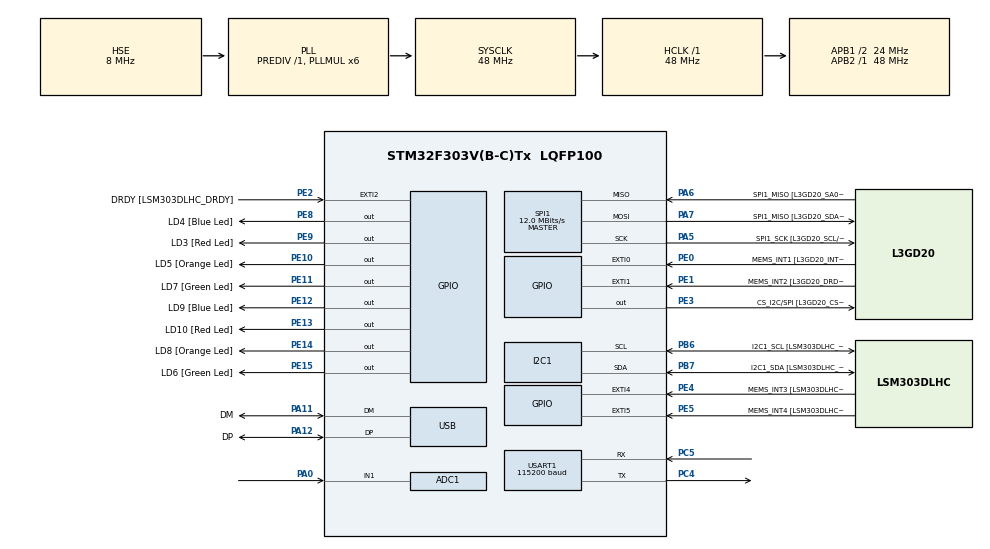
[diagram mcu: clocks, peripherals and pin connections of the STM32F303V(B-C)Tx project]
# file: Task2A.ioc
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ADC1.Channel-0\#ChannelRegularConversion=ADC_CHANNEL_1
ADC1.ContinuousConvMode=ENABLE
ADC1.NbrOfConversionFlag=1
ADC1.Offset-0\#ChannelRegularConversion=0
ADC1.OffsetNumber-0\#ChannelRegularConversion=ADC_OFFSET_NONE
ADC1.Rank-0\#ChannelRegularConversion=1
ADC1.SamplingTime-0\#ChannelRegularConversion=ADC_SAMPLETIME_1CYCLE_5
ADC1.SamplingTimeOPAMP-0\#ChannelRegularConversion=ADC_SAMPLETIME_19CYCLES_5
ADC1.master=1
I2C1.Timing=0x00201D2B
I2C1.Timing-I2C=0x2000090E
Mcu.Family=STM32F3
Mcu.Name=STM32F303V(B-C)Tx
Mcu.Package=LQFP100
NVIC.PriorityGroup=NVIC_PRIORITYGROUP_0
PA0.Mode=IN1-Single-Ended
PA0.Signal=ADC1_IN1
PA11.GPIO_Label=DM
PA11.Mode=Device
PA11.Signal=USB_DM
PA12.GPIO_Label=DP
PA12.Mode=Device
PA12.Signal=USB_DP
PA13.GPIO_Label=SWDIO
PA13.Mode=Serial_Wire
PA13.Signal=SYS_JTMS-SWDIO
PA14.GPIO_Label=SWCLK
PA14.Mode=Serial_Wire
PA14.Signal=SYS_JTCK-SWCLK
PA5.GPIO_Label=SPI1_SCK [L3GD20_SCL/SPC]
PA5.Mode=Full_Duplex_Master
PA5.Signal=SPI1_SCK
PA6.GPIO_Label=SPI1_MISO [L3GD20_SA0/SDO]
PA6.Mode=Full_Duplex_Master
PA6.Signal=SPI1_MISO
PA7.GPIO_Label=SPI1_MISO [L3GD20_SDA/SDI/SDO]
PA7.Mode=Full_Duplex_Master
PA7.Signal=SPI1_MOSI
PB3.GPIO_Label=SWO
PB3.Signal=SYS_JTDO-TRACESWO
PB6.GPIO_Label=I2C1_SCL [LSM303DLHC_SCL]
PB6.GPIO_Pu=GPIO_PULLUP
PB6.Mode=I2C
PB6.Signal=I2C1_SCL
PB7.GPIO_Label=I2C1_SDA [LSM303DLHC_SDA]
PB7.GPIO_Pu=GPIO_PULLUP
PB7.Mode=I2C
PB7.Signal=I2C1_SDA
PC14-OSC32_IN.GPIO_Label=OSC32_IN
PC14-OSC32_IN.Signal=RCC_OSC32_IN
PC15-OSC32_OUT.GPIO_Label=OSC32_OUT
PC15-OSC32_OUT.Signal=RCC_OSC32_OUT
PC4.Mode=Asynchronous
PC4.Signal=USART1_TX
PC5.Mode=Asynchronous
PC5.Signal=USART1_RX
PE0.GPIO_Label=MEMS_INT1 [L3GD20_INT1]
PE0.GPIO_ModeDefaultEXTI=GPIO_MODE_EVT_RISING
PE0.Signal=GPXTI0
PE1.GPIO_Label=MEMS_INT2 [L3GD20_DRDY/INT2]
PE1.GPIO_ModeDefaultEXTI=GPIO_MODE_EVT_RISING
PE1.Signal=GPXTI1
PE10.GPIO_Label=LD5 [Orange Led]
PE10.Signal=GPIO_Output
PE11.GPIO_Label=LD7 [Green Led]
PE11.Signal=GPIO_Output
PE12.GPIO_Label=LD9 [Blue Led]
PE12.Signal=GPIO_Output
PE13.GPIO_Label=LD10 [Red Led]
PE13.Signal=GPIO_Output
PE14.GPIO_Label=LD8 [Orange Led]
PE14.Signal=GPIO_Output
PE15.GPIO_Label=LD6 [Green Led]
PE15.Signal=GPIO_Output
PE2.GPIO_Label=DRDY [LSM303DLHC_DRDY]
PE2.GPIO_ModeDefaultEXTI=GPIO_MODE_EVT_RISING
PE2.Signal=GPXTI2
PE3.GPIO_Label=CS_I2C/SPI [L3GD20_CS_I2C/SPI]
PE3.Signal=GPIO_Output
PE4.GPIO_Label=MEMS_INT3 [LSM303DLHC_INT1]
PE4.GPIO_ModeDefaultEXTI=GPIO_MODE_EVT_RISING
PE4.Signal=GPXTI4
PE5.GPIO_Label=MEMS_INT4 [LSM303DLHC_INT2]
PE5.GPIO_ModeDefaultEXTI=GPIO_MODE_EVT_RISING
PE5.Signal=GPXTI5
PE8.GPIO_Label=LD4 [Blue Led]
PE8.Signal=GPIO_Output
PE9.GPIO_Label=LD3 [Red Led]
PE9.Signal=GPIO_Output
PF0-OSC_IN.GPIO_Label=OSC_IN
PF0-OSC_IN.Mode=HSE-External-Clock-Source
PF0-OSC_IN.Signal=RCC_OSC_IN
PF1-OSC_OUT.GPIO_Label=OSC_OUT
PF1-OSC_OUT.Signal=RCC_OSC_OUT
ProjectManager.HeapSize=0x200
ProjectManager.StackSize=0x400
ProjectManager.TargetToolchain=CMake
RCC.AHBFreq_Value=48000000
RCC.APB1CLKDivider=RCC_HCLK_DIV2
RCC.APB1Freq_Value=24000000
RCC.APB1TimFreq_Value=48000000
RCC.APB2Freq_Value=48000000
RCC.APB2TimFreq_Value=48000000
RCC.CortexFreq_Value=48000000
RCC.HCLKFreq_Value=48000000
RCC.HSE_VALUE=8000000
RCC.HSI_VALUE=8000000
RCC.LSE_VALUE=32768
RCC.PLLMUL=RCC_PLL_MUL6
RCC.SYSCLKFreq_VALUE=48000000
RCC.SYSCLKSourceVirtual=RCC_SYSCLKSOURCE_PLLCLK
RCC.USBFreq_Value=48000000
SPI1.BaudRatePrescaler=SPI_BAUDRATEPRESCALER_4
SPI1.BaudRatePrescaler-Full_Duplex_Master=SPI_BAUDRATEPRESCALER_2
SPI1.CalculateBaudRate=12.0 MBits/s
SPI1.CalculateBaudRate-Full_Duplex_Master=24.0 MBits/s
SPI1.Direction=SPI_DIRECTION_2LINES
SPI1.Mode=SPI_MODE_MASTER
SPI1.Mode-Full_Duplex_Master=SPI_MODE_MASTER
SPI1.VirtualType=VM_MASTER
STMicroelectronics.X-CUBE-ALGOBUILD.1.4.0.LibraryCcDSPOoLibraryJjDSPOoLibrary=true
USART1.BaudRate=115200
USART1.VirtualMode-Asynchronous=VM_ASYNC
VP_STMicroelectronics.X-CUBE-ALGOBUILD_VS_DSPOoLibraryJjLibrary_1.4.0_1.4.0.Mode=DSPOoLibraryJjLibrary
board=STM32F3DISCOVERY

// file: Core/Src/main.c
/* USER CODE BEGIN Header */
/**
  ******************************************************************************
  * @file           : main.c
  * @brief          : Main program body
  ******************************************************************************
  * @attention
  *
  * Copyright (c) 2026 STMicroelectronics.
  * All rights reserved.
  *
  * This software is licensed under terms that can be found in the LICENSE file
  * in the root directory of this software component.
  * If no LICENSE file comes with this software, it is provided AS-IS.
  *
  ******************************************************************************
  */
/* USER CODE END Header */
#include "main.h"

/* USER CODE BEGIN Includes */
#include "arm_math.h"
#include "stm32f3xx_hal.h"
#include <stdio.h>
#include <string.h>
/* USER CODE END Includes */

ADC_HandleTypeDef hadc1;

I2C_HandleTypeDef hi2c1;

SPI_HandleTypeDef hspi1;

UART_HandleTypeDef huart1;

PCD_HandleTypeDef hpcd_USB_FS;

void SystemClock_Config(void);
static void MX_GPIO_Init(void);
static void MX_ADC1_Init(void);
static void MX_I2C1_Init(void);
static void MX_SPI1_Init(void);
static void MX_USART1_UART_Init(void);
static void MX_USB_PCD_Init(void);

/* USER CODE BEGIN 0 */
volatile uint8_t adc_conversion_complete = 0;
volatile uint8_t uart_transmit_complete = 1;

float32_t inputBuffer[10] = {0};
float32_t output = 0.0f;
uint8_t bufferIndex = 0;

void apply_moving_average(float32_t new_sample)
{
  inputBuffer[bufferIndex] = new_sample;

  bufferIndex++;
  if (bufferIndex >= 10)
  {
    bufferIndex = 0;
  }

  arm_mean_f32(inputBuffer, 10, &output);
}
/* USER CODE END 0 */

int main(void)
{

  /* MCU Configuration--------------------------------------------------------*/

  /* Reset of all peripherals, Initializes the Flash interface and the Systick. */
  HAL_Init();

  /* Configure the system clock */
  SystemClock_Config();

  /* Initialize all configured peripherals */
  MX_GPIO_Init();
  MX_ADC1_Init();
  MX_I2C1_Init();
  MX_SPI1_Init();
  MX_USART1_UART_Init();
  MX_USB_PCD_Init();
  /* USER CODE BEGIN 2 */

  HAL_ADCEx_Calibration_Start(&hadc1, ADC_SINGLE_ENDED);
  HAL_ADC_Start_IT(&hadc1);

  /* USER CODE END 2 */

  /* Infinite loop */
  while (1)
  {

    /* USER CODE BEGIN 3 */

    if (adc_conversion_complete && uart_transmit_complete)
    {
      adc_conversion_complete = 0;
      uart_transmit_complete = 0;

      uint32_t adc_value = HAL_ADC_GetValue(&hadc1);

      float32_t adc_float = (float32_t)adc_value;
      apply_moving_average(adc_float);

      static char buffer[64];
      sprintf(buffer, "%.2f,%.2f\r\n", adc_float, output);
      HAL_UART_Transmit_IT(&huart1, (uint8_t*)buffer, strlen(buffer));
    }
  }
  /* USER CODE END 3 */
}

void SystemClock_Config(void)
{
  RCC_OscInitTypeDef RCC_OscInitStruct = {0};
  RCC_ClkInitTypeDef RCC_ClkInitStruct = {0};
  RCC_PeriphCLKInitTypeDef PeriphClkInit = {0};

  /** Initializes the RCC Oscillators according to the specified parameters
  * in the RCC_OscInitTypeDef structure.
  */
  RCC_OscInitStruct.OscillatorType = RCC_OSCILLATORTYPE_HSI|RCC_OSCILLATORTYPE_HSE;
  RCC_OscInitStruct.HSEState = RCC_HSE_BYPASS;
  RCC_OscInitStruct.HSEPredivValue = RCC_HSE_PREDIV_DIV1;
  RCC_OscInitStruct.HSIState = RCC_HSI_ON;
  RCC_OscInitStruct.HSICalibrationValue = RCC_HSICALIBRATION_DEFAULT;
  RCC_OscInitStruct.PLL.PLLState = RCC_PLL_ON;
  RCC_OscInitStruct.PLL.PLLSource = RCC_PLLSOURCE_HSE;
  RCC_OscInitStruct.PLL.PLLMUL = RCC_PLL_MUL6;
  if (HAL_RCC_OscConfig(&RCC_OscInitStruct) != HAL_OK)
  {
    Error_Handler();
  }

  /** Initializes the CPU, AHB and APB buses clocks
  */
  RCC_ClkInitStruct.ClockType = RCC_CLOCKTYPE_HCLK|RCC_CLOCKTYPE_SYSCLK
                              |RCC_CLOCKTYPE_PCLK1|RCC_CLOCKTYPE_PCLK2;
  RCC_ClkInitStruct.SYSCLKSource = RCC_SYSCLKSOURCE_PLLCLK;
  RCC_ClkInitStruct.AHBCLKDivider = RCC_SYSCLK_DIV1;
  RCC_ClkInitStruct.APB1CLKDivider = RCC_HCLK_DIV2;
  RCC_ClkInitStruct.APB2CLKDivider = RCC_HCLK_DIV1;

  if (HAL_RCC_ClockConfig(&RCC_ClkInitStruct, FLASH_LATENCY_1) != HAL_OK)
  {
    Error_Handler();
  }
  PeriphClkInit.PeriphClockSelection = RCC_PERIPHCLK_USB|RCC_PERIPHCLK_USART1
                              |RCC_PERIPHCLK_I2C1|RCC_PERIPHCLK_ADC12;
  PeriphClkInit.Usart1ClockSelection = RCC_USART1CLKSOURCE_PCLK2;
  PeriphClkInit.Adc12ClockSelection = RCC_ADC12PLLCLK_DIV1;
  PeriphClkInit.I2c1ClockSelection = RCC_I2C1CLKSOURCE_HSI;
  PeriphClkInit.USBClockSelection = RCC_USBCLKSOURCE_PLL;
  if (HAL_RCCEx_PeriphCLKConfig(&PeriphClkInit) != HAL_OK)
  {
    Error_Handler();
  }
}

static void MX_ADC1_Init(void)
{

  ADC_MultiModeTypeDef multimode = {0};
  ADC_ChannelConfTypeDef sConfig = {0};

  /** Common config
  */
  hadc1.Instance = ADC1;
  hadc1.Init.ClockPrescaler = ADC_CLOCK_ASYNC_DIV1;
  hadc1.Init.Resolution = ADC_RESOLUTION_12B;
  hadc1.Init.ScanConvMode = ADC_SCAN_DISABLE;
  hadc1.Init.ContinuousConvMode = ENABLE;
  hadc1.Init.DiscontinuousConvMode = DISABLE;
  hadc1.Init.ExternalTrigConvEdge = ADC_EXTERNALTRIGCONVEDGE_NONE;
  hadc1.Init.ExternalTrigConv = ADC_SOFTWARE_START;
  hadc1.Init.DataAlign = ADC_DATAALIGN_RIGHT;
  hadc1.Init.NbrOfConversion = 1;
  hadc1.Init.DMAContinuousRequests = DISABLE;
  hadc1.Init.EOCSelection = ADC_EOC_SINGLE_CONV;
  hadc1.Init.LowPowerAutoWait = DISABLE;
  hadc1.Init.Overrun = ADC_OVR_DATA_OVERWRITTEN;
  if (HAL_ADC_Init(&hadc1) != HAL_OK)
  {
    Error_Handler();
  }

  /** Configure the ADC multi-mode
  */
  multimode.Mode = ADC_MODE_INDEPENDENT;
  if (HAL_ADCEx_MultiModeConfigChannel(&hadc1, &multimode) != HAL_OK)
  {
    Error_Handler();
  }

  /** Configure Regular Channel
  */
  sConfig.Channel = ADC_CHANNEL_1;
  sConfig.Rank = ADC_REGULAR_RANK_1;
  sConfig.SingleDiff = ADC_SINGLE_ENDED;
  sConfig.SamplingTime = ADC_SAMPLETIME_1CYCLE_5;
  sConfig.OffsetNumber = ADC_OFFSET_NONE;
  sConfig.Offset = 0;
  if (HAL_ADC_ConfigChannel(&hadc1, &sConfig) != HAL_OK)
  {
    Error_Handler();
  }

}

static void MX_I2C1_Init(void)
{

  hi2c1.Instance = I2C1;
  hi2c1.Init.Timing = 0x00201D2B;
  hi2c1.Init.OwnAddress1 = 0;
  hi2c1.Init.AddressingMode = I2C_ADDRESSINGMODE_7BIT;
  hi2c1.Init.DualAddressMode = I2C_DUALADDRESS_DISABLE;
  hi2c1.Init.OwnAddress2 = 0;
  hi2c1.Init.OwnAddress2Masks = I2C_OA2_NOMASK;
  hi2c1.Init.GeneralCallMode = I2C_GENERALCALL_DISABLE;
  hi2c1.Init.NoStretchMode = I2C_NOSTRETCH_DISABLE;
  if (HAL_I2C_Init(&hi2c1) != HAL_OK)
  {
    Error_Handler();
  }

  /** Configure Analogue filter
  */
  if (HAL_I2CEx_ConfigAnalogFilter(&hi2c1, I2C_ANALOGFILTER_ENABLE) != HAL_OK)
  {
    Error_Handler();
  }

  /** Configure Digital filter
  */
  if (HAL_I2CEx_ConfigDigitalFilter(&hi2c1, 0) != HAL_OK)
  {
    Error_Handler();
  }

}

static void MX_SPI1_Init(void)
{

  /* SPI1 parameter configuration*/
  hspi1.Instance = SPI1;
  hspi1.Init.Mode = SPI_MODE_MASTER;
  hspi1.Init.Direction = SPI_DIRECTION_2LINES;
  hspi1.Init.DataSize = SPI_DATASIZE_4BIT;
  hspi1.Init.CLKPolarity = SPI_POLARITY_LOW;
  hspi1.Init.CLKPhase = SPI_PHASE_1EDGE;
  hspi1.Init.NSS = SPI_NSS_SOFT;
  hspi1.Init.BaudRatePrescaler = SPI_BAUDRATEPRESCALER_4;
  hspi1.Init.FirstBit = SPI_FIRSTBIT_MSB;
  hspi1.Init.TIMode = SPI_TIMODE_DISABLE;
  hspi1.Init.CRCCalculation = SPI_CRCCALCULATION_DISABLE;
  hspi1.Init.CRCPolynomial = 7;
  hspi1.Init.CRCLength = SPI_CRC_LENGTH_DATASIZE;
  hspi1.Init.NSSPMode = SPI_NSS_PULSE_ENABLE;
  if (HAL_SPI_Init(&hspi1) != HAL_OK)
  {
    Error_Handler();
  }

}

static void MX_USART1_UART_Init(void)
{

  huart1.Instance = USART1;
  huart1.Init.BaudRate = 115200;
  huart1.Init.WordLength = UART_WORDLENGTH_8B;
  huart1.Init.StopBits = UART_STOPBITS_1;
  huart1.Init.Parity = UART_PARITY_NONE;
  huart1.Init.Mode = UART_MODE_TX_RX;
  huart1.Init.HwFlowCtl = UART_HWCONTROL_NONE;
  huart1.Init.OverSampling = UART_OVERSAMPLING_16;
  huart1.Init.OneBitSampling = UART_ONE_BIT_SAMPLE_DISABLE;
  huart1.AdvancedInit.AdvFeatureInit = UART_ADVFEATURE_NO_INIT;
  if (HAL_UART_Init(&huart1) != HAL_OK)
  {
    Error_Handler();
  }

}

static void MX_USB_PCD_Init(void)
{

  hpcd_USB_FS.Instance = USB;
  hpcd_USB_FS.Init.dev_endpoints = 8;
  hpcd_USB_FS.Init.speed = PCD_SPEED_FULL;
  hpcd_USB_FS.Init.phy_itface = PCD_PHY_EMBEDDED;
  hpcd_USB_FS.Init.low_power_enable = DISABLE;
  hpcd_USB_FS.Init.battery_charging_enable = DISABLE;
  if (HAL_PCD_Init(&hpcd_USB_FS) != HAL_OK)
  {
    Error_Handler();
  }

}

static void MX_GPIO_Init(void)
{
  GPIO_InitTypeDef GPIO_InitStruct = {0};

  /* GPIO Ports Clock Enable */
  __HAL_RCC_GPIOE_CLK_ENABLE();
  __HAL_RCC_GPIOC_CLK_ENABLE();
  __HAL_RCC_GPIOF_CLK_ENABLE();
  __HAL_RCC_GPIOA_CLK_ENABLE();
  __HAL_RCC_GPIOB_CLK_ENABLE();

  /*Configure GPIO pin Output Level */
  HAL_GPIO_WritePin(GPIOE, CS_I2C_SPI_Pin|LD4_Pin|LD3_Pin|LD5_Pin
                          |LD7_Pin|LD9_Pin|LD10_Pin|LD8_Pin
                          |LD6_Pin, GPIO_PIN_RESET);

  /*Configure GPIO pins : DRDY_Pin MEMS_INT3_Pin MEMS_INT4_Pin MEMS_INT1_Pin
                           MEMS_INT2_Pin */
  GPIO_InitStruct.Pin = DRDY_Pin|MEMS_INT3_Pin|MEMS_INT4_Pin|MEMS_INT1_Pin
                          |MEMS_INT2_Pin;
  GPIO_InitStruct.Mode = GPIO_MODE_EVT_RISING;
  GPIO_InitStruct.Pull = GPIO_NOPULL;
  HAL_GPIO_Init(GPIOE, &GPIO_InitStruct);

  /*Configure GPIO pins : CS_I2C_SPI_Pin LD4_Pin LD3_Pin LD5_Pin
                           LD7_Pin LD9_Pin LD10_Pin LD8_Pin
                           LD6_Pin */
  GPIO_InitStruct.Pin = CS_I2C_SPI_Pin|LD4_Pin|LD3_Pin|LD5_Pin
                          |LD7_Pin|LD9_Pin|LD10_Pin|LD8_Pin
                          |LD6_Pin;
  GPIO_InitStruct.Mode = GPIO_MODE_OUTPUT_PP;
  GPIO_InitStruct.Pull = GPIO_NOPULL;
  GPIO_InitStruct.Speed = GPIO_SPEED_FREQ_LOW;
  HAL_GPIO_Init(GPIOE, &GPIO_InitStruct);

}

/* USER CODE BEGIN 4 */

void HAL_ADC_ConvCpltCallback(ADC_HandleTypeDef* hadc)
{
  if (hadc->Instance == ADC1)
  {
    adc_conversion_complete = 1;
  }
}

void HAL_UART_TxCpltCallback(UART_HandleTypeDef *huart)
{
  if (huart->Instance == USART1)
  {
    uart_transmit_complete = 1;
    HAL_ADC_Start_IT(&hadc1);
  }
}

/* USER CODE END 4 */

void Error_Handler(void)
{
  __disable_irq();
  while (1)
  {
  }
}
